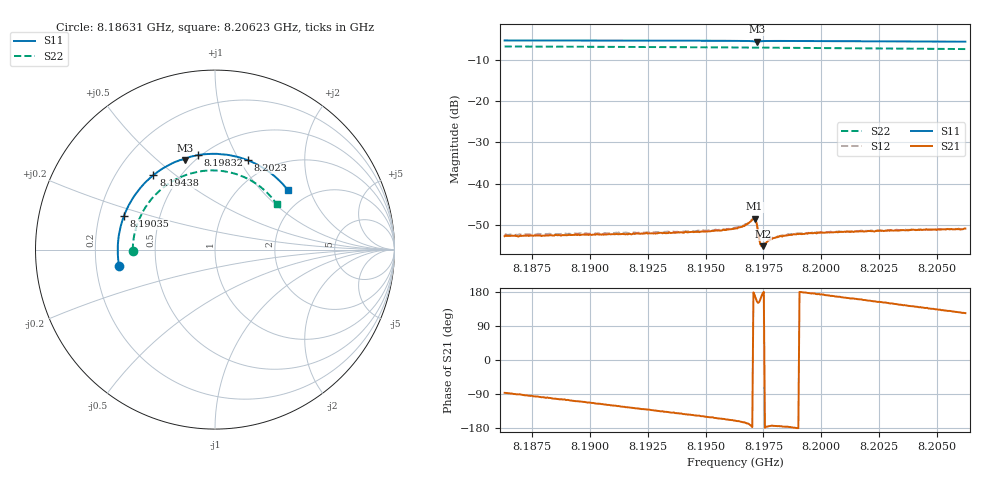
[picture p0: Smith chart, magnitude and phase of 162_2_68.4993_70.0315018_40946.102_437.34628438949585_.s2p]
#  HZ  S  RI  R  50.00
! Rohde & Schwarz Vector Network Analyzer
! Rohde-Schwarz,ZNB20-2Port,1311601062101988,3.16
! Created: UTC 3/20/2024, 4:55:50 PM
! freq[Hz]  re:S11  im:S11  re:S21  im:S21  re:S12  im:S12  re:S22  im:S22
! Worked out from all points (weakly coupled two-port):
!   401 points, 8.18631 GHz to 8.20623 GHz, reference 50 ohm
!   highest |S21| = -48.53 dB at 8.19712 GHz (marker M1); lowest = -55.2 dB at 8.19747 GHz (marker M2)
!   lowest |S11| = -5.6 dB at 8.19722 GHz (marker M3), VSWR 3.20, Z = 22.6 + j30.9 ohm
!   |S11| at or under -10 dB: nowhere
!   |S22| runs from -7.4 to -6.8 dB; largest |S21 - S12| = 0.00019
!   S11 on the Smith chart (normalised r, x): 8.18631 GHz: 0.30, -0.08; 8.19035 GHz: 0.31, +0.16; 8.19438 GHz: 0.36, +0.42; 8.19832 GHz: 0.48, +0.71; 8.2023 GHz: 0.78, +1.09; 8.20623 GHz: 1.55, +1.43
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8.186315e9  -0.5349 -0.0899  0.000138 -0.0023  9.87e-05 -0.00238  -0.4585 -0.00647
8.187958e9  -0.5413 0.0247  -0.000329 -0.00232  -0.000387 -0.00239  -0.4492 0.084
8.189651e9  -0.5223 0.1415  -0.000814 -0.00226  -0.000904 -0.00229  -0.4207 0.1732
8.190348e9  -0.5071 0.188  -0.00104 -0.0022  -0.00114 -0.00224  -0.4038 0.2078
8.192987e9  -0.4133 0.3467  -0.00177 -0.0018  -0.00184 -0.00177  -0.3145 0.3232
8.194382e9  -0.3431 0.4151  -0.00212 -0.00149  -0.00224 -0.00143  -0.2532 0.3708
8.195577e9  -0.2733 0.4629  -0.00244 -0.00118  -0.00253 -0.00111  -0.1944 0.4026
8.196274e9  -0.2288 0.4854  -0.00268 -0.000982  -0.00279 -0.000892  -0.1582 0.4169
8.196722e9  -0.1979 0.4975  -0.00304 -0.000789  -0.00317 -0.000695  -0.1342 0.4246
8.197021e9  -0.1748 0.5018  -0.00363 -0.000175  -0.00369 -4.15e-05  -0.1178 0.4288
8.19712e9  -0.1675 0.4998  -0.00371 0.00054  -0.00378 0.000716  -0.1125 0.43
8.19717e9  -0.1656 0.4977  -0.00345 0.00105  -0.00347 0.00124  -0.1098 0.4305
8.19722e9  -0.1658 0.4969  -0.00289 0.00138  -0.00287 0.0015  -0.1071 0.431
8.197369e9  -0.163 0.5046  -0.00173 0.000627  -0.00174 0.000664  -0.0992 0.4329
8.197419e9  -0.16 0.5072  -0.00171 0.000348  -0.00173 0.000452  -0.0964 0.4333
8.197469e9  -0.1563 0.5094  -0.00174 0.000142  -0.00176 0.000232  -0.0936 0.4339
8.197867e9  -0.1272 0.5197  -0.00212 -0.000248  -0.00221 -0.000152  -0.0713 0.4375
8.198315e9  -0.0953 0.5264  -0.00228 -0.000177  -0.00235 -0.000104  -0.0462 0.4401
8.19961e9  -0.00344 0.5338  -0.0025 0.000172  -0.00253 0.000289  0.0271 0.4394
8.202299e9  0.1824 0.4979  -0.00237 0.00112  -0.0024 0.00124  0.1739 0.3988
8.202946e9  0.2243 0.4796  -0.00231 0.00136  -0.0023 0.0015  0.2067 0.3813
8.206233e9  0.4041 0.334  -0.00158 0.00237  -0.0015 0.00242  0.3447 0.2513
